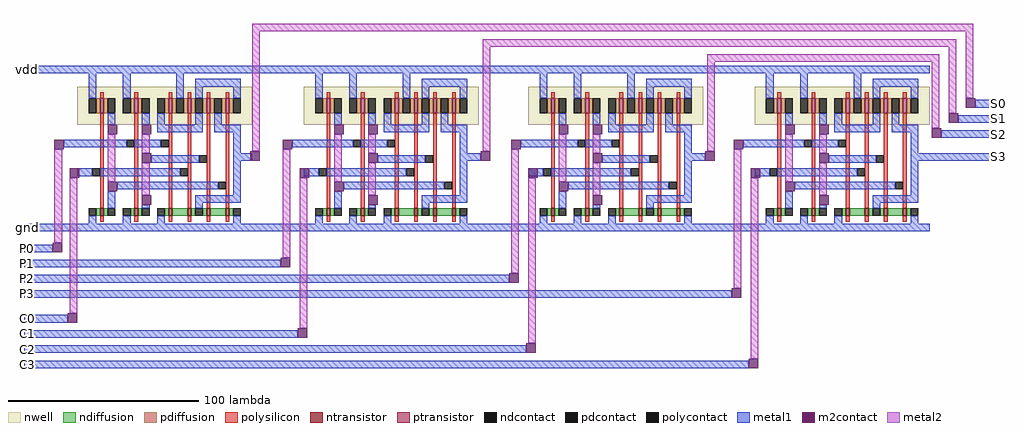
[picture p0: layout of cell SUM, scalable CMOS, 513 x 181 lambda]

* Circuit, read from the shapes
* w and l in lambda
.subckt SUM C0 C1 C2 C3 P0 P1 P2 P3 S0 S1 S2 S3 gnd vdd
M1 xor_0/Bbar C0 gnd VSUBS nfet w=4 l=2
M2 xor_0/Abar P0 gnd VSUBS nfet w=4 l=2
M3 n1 P0 gnd VSUBS nfet w=4 l=2
M4 S0 C0 n1 VSUBS nfet w=4 l=2
M5 n2 xor_0/Abar S0 VSUBS nfet w=4 l=2
M6 gnd xor_0/Bbar n2 VSUBS nfet w=4 l=2
M7 xor_1/Bbar C1 gnd VSUBS nfet w=4 l=2
M8 xor_1/Abar P1 gnd VSUBS nfet w=4 l=2
M9 n3 P1 gnd VSUBS nfet w=4 l=2
M10 S1 C1 n3 VSUBS nfet w=4 l=2
M11 n4 xor_1/Abar S1 VSUBS nfet w=4 l=2
M12 gnd xor_1/Bbar n4 VSUBS nfet w=4 l=2
M13 xor_2/Bbar C2 gnd VSUBS nfet w=4 l=2
M14 xor_2/Abar P2 gnd VSUBS nfet w=4 l=2
M15 n5 P2 gnd VSUBS nfet w=4 l=2
M16 S2 C2 n5 VSUBS nfet w=4 l=2
M17 n6 xor_2/Abar S2 VSUBS nfet w=4 l=2
M18 gnd xor_2/Bbar n6 VSUBS nfet w=4 l=2
M19 xor_3/Bbar C3 gnd VSUBS nfet w=4 l=2
M20 xor_3/Abar P3 gnd VSUBS nfet w=4 l=2
M21 n7 P3 gnd VSUBS nfet w=4 l=2
M22 S3 C3 n7 VSUBS nfet w=4 l=2
M23 n8 xor_3/Abar S3 VSUBS nfet w=4 l=2
M24 gnd xor_3/Bbar n8 VSUBS nfet w=4 l=2
M25 xor_0/Bbar C0 vdd n9 pfet w=8 l=2
M26 xor_0/Abar P0 vdd n9 pfet w=8 l=2
M27 vdd P0 n10 n9 pfet w=8 l=2
M28 n10 C0 vdd n9 pfet w=8 l=2
M29 S0 xor_0/Abar n10 n9 pfet w=8 l=2
M30 n10 xor_0/Bbar S0 n9 pfet w=8 l=2
M31 xor_1/Bbar C1 vdd n11 pfet w=8 l=2
M32 xor_1/Abar P1 vdd n11 pfet w=8 l=2
M33 vdd P1 n12 n11 pfet w=8 l=2
M34 n12 C1 vdd n11 pfet w=8 l=2
M35 S1 xor_1/Abar n12 n11 pfet w=8 l=2
M36 n12 xor_1/Bbar S1 n11 pfet w=8 l=2
M37 xor_2/Bbar C2 vdd n13 pfet w=8 l=2
M38 xor_2/Abar P2 vdd n13 pfet w=8 l=2
M39 vdd P2 n14 n13 pfet w=8 l=2
M40 n14 C2 vdd n13 pfet w=8 l=2
M41 S2 xor_2/Abar n14 n13 pfet w=8 l=2
M42 n14 xor_2/Bbar S2 n13 pfet w=8 l=2
M43 xor_3/Bbar C3 vdd n15 pfet w=8 l=2
M44 xor_3/Abar P3 vdd n15 pfet w=8 l=2
M45 vdd P3 n16 n15 pfet w=8 l=2
M46 n16 C3 vdd n15 pfet w=8 l=2
M47 S3 xor_3/Abar n16 n15 pfet w=8 l=2
M48 n16 xor_3/Bbar S3 n15 pfet w=8 l=2
.ends

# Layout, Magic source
magic
tech scmos
<< metal1 >>
rect -28 83 359 87
rect 472 65 485 69
rect 463 57 485 61
rect 454 49 485 53
rect -7 44 2 48
rect 113 44 124 48
rect 233 44 240 48
rect 350 44 357 48
rect 88 37 91 41
rect 207 37 212 41
rect 325 37 330 41
rect 444 37 485 41
rect 1 29 4 33
rect -28 0 361 4
rect -28 -11 -13 -7
rect -28 -19 107 -15
rect -28 -27 227 -23
rect -28 -35 344 -31
rect -28 -48 -5 -44
rect -28 -56 116 -52
rect -28 -64 236 -60
rect -28 -72 353 -68
<< m2contact >>
rect 467 65 472 70
rect 458 57 463 62
rect 449 49 454 54
rect -12 43 -7 48
rect 108 43 113 48
rect 228 43 233 48
rect 345 43 350 48
rect 91 37 96 42
rect 212 37 217 42
rect 330 37 335 42
rect -4 28 1 33
rect 117 28 122 33
rect 237 28 242 33
rect 354 28 359 33
rect -13 -11 -8 -6
rect 107 -19 112 -14
rect 227 -27 232 -22
rect 344 -35 349 -30
rect -5 -48 0 -43
rect 116 -56 121 -51
rect 236 -64 241 -59
rect 353 -72 358 -67
<< metal2 >>
rect 92 105 471 109
rect -12 -6 -8 43
rect 92 42 96 105
rect 213 97 462 101
rect -4 -43 0 28
rect 108 -14 112 43
rect 213 42 217 97
rect 331 89 453 93
rect 117 -51 121 28
rect 228 -22 232 43
rect 331 42 335 89
rect 449 54 453 89
rect 458 62 462 97
rect 467 70 471 105
rect 237 -59 241 28
rect 345 -30 349 43
rect 354 -67 358 28
use xor  xor_0
transform 1 0 35 0 1 56
box -35 -56 57 31
use xor  xor_1
transform 1 0 154 0 1 56
box -35 -56 57 31
use xor  xor_2
transform 1 0 272 0 1 56
box -35 -56 57 31
use xor  xor_3
transform 1 0 391 0 1 56
box -35 -56 57 31
<< labels >>
rlabel metal1 -26 85 -26 85 4 vdd
rlabel metal1 -26 2 -26 2 3 gnd
rlabel metal1 -26 -9 -26 -9 3 P0
rlabel metal1 -26 -17 -26 -17 3 P1
rlabel metal1 -26 -25 -26 -25 3 P2
rlabel metal1 -26 -33 -26 -33 3 P3
rlabel metal1 -26 -46 -26 -46 3 C0
rlabel metal1 -26 -54 -26 -54 3 C1
rlabel metal1 -26 -62 -26 -62 3 C2
rlabel metal1 -26 -70 -26 -70 2 C3
rlabel metal1 484 39 484 39 7 S3
rlabel metal1 484 51 484 51 7 S2
rlabel metal1 484 59 484 59 7 S1
rlabel metal1 484 67 484 67 7 S0
<< end >>

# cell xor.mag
magic
tech scmos
<< nwell >>
rect -35 0 57 20
<< ntransistor >>
rect -23 -48 -21 -44
rect -5 -48 -3 -44
rect 13 -48 15 -44
rect 23 -48 25 -44
rect 33 -48 35 -44
rect 43 -48 45 -44
<< ptransistor >>
rect -23 6 -21 14
rect -5 6 -3 14
rect 13 6 15 14
rect 23 6 25 14
rect 33 6 35 14
rect 43 6 45 14
<< ndiffusion >>
rect -25 -48 -23 -44
rect -21 -48 -19 -44
rect -7 -48 -5 -44
rect -3 -48 -1 -44
rect 11 -48 13 -44
rect 15 -48 23 -44
rect 25 -48 27 -44
rect 31 -48 33 -44
rect 35 -48 43 -44
rect 45 -48 47 -44
<< pdiffusion >>
rect -25 6 -23 14
rect -21 6 -19 14
rect -7 6 -5 14
rect -3 6 -1 14
rect 11 6 13 14
rect 15 6 17 14
rect 21 6 23 14
rect 25 6 27 14
rect 31 6 33 14
rect 35 6 37 14
rect 41 6 43 14
rect 45 6 47 14
<< ndcontact >>
rect -29 -48 -25 -44
rect -19 -48 -15 -44
rect -11 -48 -7 -44
rect -1 -48 3 -44
rect 7 -48 11 -44
rect 27 -48 31 -44
rect 47 -48 51 -44
<< pdcontact >>
rect -29 6 -25 14
rect -19 6 -15 14
rect -11 6 -7 14
rect -1 6 3 14
rect 7 6 11 14
rect 17 6 21 14
rect 27 6 31 14
rect 37 6 41 14
rect 47 6 51 14
<< polysilicon >>
rect -23 14 -21 17
rect -5 14 -3 17
rect 13 14 15 17
rect 23 14 25 17
rect 33 14 35 17
rect 43 14 45 17
rect -23 -44 -21 6
rect -5 -44 -3 6
rect 13 -44 15 6
rect 23 -44 25 6
rect 33 -44 35 6
rect 43 -44 45 6
rect -23 -51 -21 -48
rect -5 -51 -3 -48
rect 13 -51 15 -48
rect 23 -51 25 -48
rect 33 -51 35 -48
rect 43 -51 45 -48
<< polycontact >>
rect -27 -27 -23 -23
rect -9 -12 -5 -8
rect 9 -12 13 -8
rect 19 -27 23 -23
rect 29 -20 33 -16
rect 39 -34 43 -30
<< metal1 >>
rect -35 27 57 31
rect -29 14 -25 27
rect -11 14 -7 27
rect 17 14 21 27
rect -19 0 -15 6
rect -1 0 3 6
rect 27 20 51 24
rect 27 14 31 20
rect 47 14 51 20
rect 7 0 11 6
rect 27 0 31 6
rect 7 -4 31 0
rect 37 0 41 6
rect 37 -4 51 0
rect -35 -12 -9 -8
rect -5 -12 9 -8
rect 47 -15 51 -4
rect 4 -20 29 -16
rect 47 -19 57 -15
rect -35 -27 -27 -23
rect -23 -27 19 -23
rect -14 -34 39 -30
rect -19 -44 -15 -35
rect 47 -37 51 -19
rect 27 -41 51 -37
rect -1 -44 3 -42
rect 27 -44 31 -41
rect -29 -52 -25 -48
rect -11 -52 -7 -48
rect 7 -52 11 -48
rect 47 -52 51 -48
rect -35 -56 57 -52
<< m2contact >>
rect -19 -5 -14 0
rect -1 -5 4 0
rect -1 -20 4 -15
rect -19 -35 -14 -30
rect -1 -42 4 -37
<< metal2 >>
rect -19 -30 -15 -5
rect -1 -15 3 -5
rect -1 -37 3 -20
<< labels >>
rlabel metal1 28 -18 28 -18 1 Abar
rlabel metal1 2 29 2 29 4 vdd
rlabel metal1 -27 -10 -27 -10 1 A
rlabel metal1 -28 -25 -28 -25 1 B
rlabel metal1 3 -55 3 -55 2 gnd
rlabel metal1 37 -32 37 -32 1 Bbar
rlabel metal1 54 -17 54 -17 7 AxorB
<< end >>
